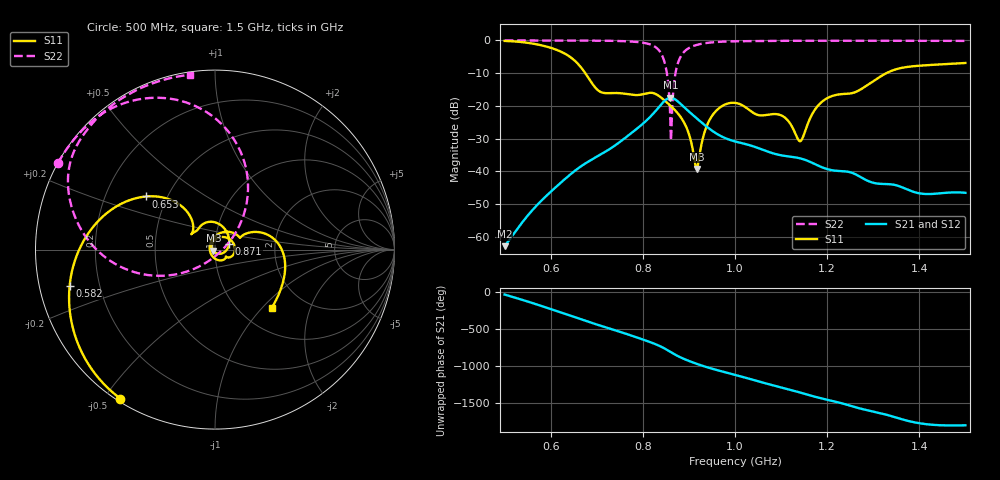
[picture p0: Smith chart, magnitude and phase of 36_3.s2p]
! TOUCHSTONE file generated by CST MICROWAVE STUDIO
! Date and time: Fri Oct  2 16:35:07 2020
! Project name: Scenario_1_Free_Space_out_of_line.cst
! Parameters = {Lambda=346.42; Step_1=17.321; dy1=-259.295; dx1=520; L_HA=400; MT=2.54; Rad_Dielectric=30; Rad_Lower=7.3; Rad_Upper=30; a_HA=580; a_WG=246; b_HA=500; b_WG=121; c_HA=0; c_WG=187; d_feed=85; h_feed=15; h_lower=18; h_upper=40}
! Header version: 2018
! Port assignment regex: !\s*Touchstone port\s*([0-9]+)\s*=\s*(CST MWS port|CST DS port)\s*([0-9]+|Zmin|Zmax)\s*\(\"(.*)\"\)(\s*mode\s*([0-9]+))?.*
! Touchstone port assignment:
! Touchstone port 1 = CST MWS port 1 ("")
! Touchstone port 2 = CST MWS port 2 ("")
# GHz S DB R 50
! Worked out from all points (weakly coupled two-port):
!   1003 points, 500 MHz to 1.5 GHz, reference 50 ohm
!   highest |S21| = -17.53 dB at 860 MHz (marker M1); lowest = -62.8 dB at 500 MHz (marker M2)
!   lowest |S11| = -39.2 dB at 917 MHz (marker M3), VSWR 1.02, Z = 49.1 - j0.589 ohm
!   |S11| at or under -10 dB: 675.1 MHz to 1.328 GHz (653.4 MHz wide, 65.2 % of centre)
!   |S22| runs from -30.6 to 0.0 dB; largest |S21 - S12| = 8.9e-05
!   S11 on the Smith chart (normalised r, x): 500 MHz: 0.01, -0.55; 582 MHz: 0.09, -0.12; 653 MHz: 0.38, +0.30; 871 MHz: 1.17, +0.07; 1.5 GHz: 1.39, -1.13
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0.5  -0.15 -122.4  -62.85 -33.0  -62.85 -33.0  -0.01 151.1
0.582  -1.56 -165.8  -48.64 168.7  -48.64 168.6  -0.01 145.5
0.653  -6.29 142.4  -39.77 21.5  -39.77 21.5  -0.04 139.7
0.667  -8.45 132.2  -38.33 -8.4  -38.33 -8.4  -0.04 138.4
0.708  -15.71 138.1  -34.90 -92.8  -34.90 -92.8  -0.08 133.9
0.779  -16.63 135.9  -27.87 125.9  -27.87 125.9  -0.38 121.1
0.834  -16.88 79.7  -20.52 0.5  -20.52 0.5  -2.85 88.9
0.849  -18.55 56.4  -18.24 -46.3  -18.24 -46.3  -7.70 63.5
0.86  -19.95 39.5  -17.53 -86.6  -17.53 -86.6  -25.82 9.9
0.865  -20.63 31.6  -17.65 -105.1  -17.65 -105.1  -17.29 -134.3
0.867  -20.91 28.3  -17.76 -112.3  -17.76 -112.3  -13.91 -142.3
0.871  -21.49 21.6  -18.10 -126.2  -18.10 -126.2  -9.85 -153.1
0.89  -25.22 -14.4  -20.44 177.1  -20.44 177.1  -3.40 178.6
0.917  -39.23 -146.7  -23.81 112.7  -23.81 112.7  -1.37 161.1
0.948  -23.51 76.6  -27.34 51.2  -27.34 51.2  -0.61 150.7
1  -19.07 -2.2  -30.85 -35.2  -30.85 -35.2  -0.27 140.7
1.104  -23.15 -59.7  -35.19 149.7  -35.19 149.7  -0.12 129.6
1.141  -30.78 -168.9  -36.01 86.3  -36.01 86.3  -0.11 126.5
1.167  -22.65 90.2  -37.35 40.1  -37.35 40.1  -0.10 124.4
1.2  -17.65 48.0  -39.30 -10.7  -39.30 -10.7  -0.09 121.8
1.334  -9.62 11.0  -43.90 137.9  -43.89 137.9  -0.09 111.6
1.5  -6.89 -45.5  -46.54 4.3  -46.54 4.3  -0.14 98.1
